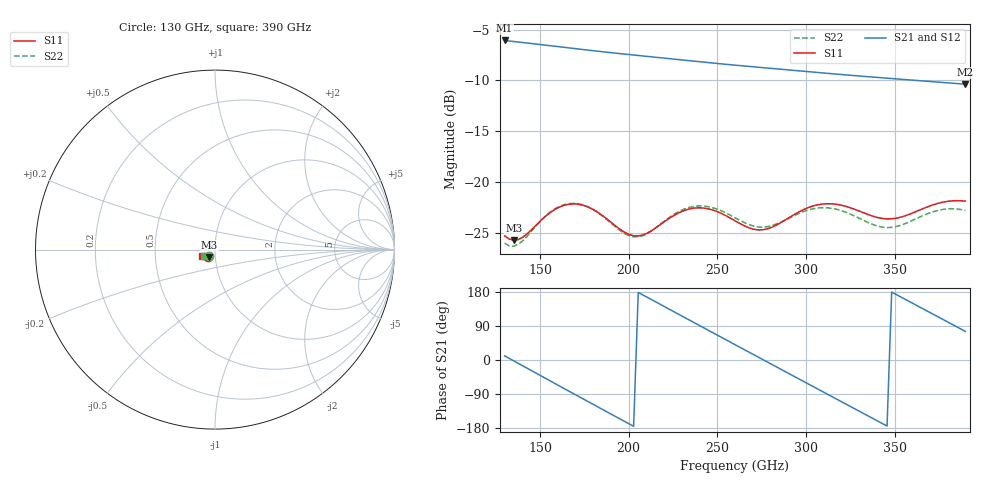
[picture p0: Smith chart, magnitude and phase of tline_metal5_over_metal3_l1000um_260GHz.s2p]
#  GHZ S DB R 50
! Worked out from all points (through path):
!   101 points, 130 GHz to 390 GHz, reference 50 ohm
!   highest |S21| = -6.07 dB at 130 GHz (marker M1); lowest = -10.4 dB at 390 GHz (marker M2)
!   group delay of S21, straight-line fit = 7 ps
!   lowest |S11| = -25.7 dB at 135.2 GHz (marker M3), VSWR 1.11, Z = 46.8 - j3.85 ohm
!   |S11| at or under -10 dB: start of sweep to end of sweep
!   |S22| runs from -26.3 to -22.1 dB; largest |S21 - S12| = 8.1e-14
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130  -25.32 -134.2  -6.07 11.0  -6.07 11.0  -26.04 -130.6
135.2  -25.75 -127.3  -6.18 -2.4  -6.18 -2.4  -26.33 -122.2
145.6  -24.64 -117.1  -6.38 -29.1  -6.38 -29.1  -24.77 -111.7
156  -22.98 -119.5  -6.59 -55.9  -6.59 -55.9  -22.94 -115.5
163.8  -22.30 -126.0  -6.75 -75.9  -6.75 -75.9  -22.23 -122.8
174.2  -22.29 -136.0  -6.97 -102.4  -6.97 -102.4  -22.27 -133.6
187.2  -23.58 -144.3  -7.22 -135.5  -7.22 -135.5  -23.64 -142.3
197.6  -24.95 -142.3  -7.41 -161.8  -7.41 -161.8  -25.08 -139.9
208  -25.23 -133.5  -7.60 171.8  -7.60 171.8  -25.30 -130.5
218.4  -24.14 -128.7  -7.78 145.4  -7.78 145.4  -24.09 -125.7
228.8  -23.00 -131.6  -7.97 119.1  -7.97 119.1  -22.87 -129.2
239.2  -22.55 -138.5  -8.15 92.9  -8.15 92.9  -22.37 -136.5
249.6  -22.90 -145.2  -8.33 66.7  -8.33 66.7  -22.66 -143.7
260  -23.83 -147.8  -8.50 40.6  -8.50 40.6  -23.53 -147.1
270.4  -24.66 -143.9  -8.67 14.4  -8.67 14.4  -24.35 -144.7
280.8  -24.47 -137.0  -8.83 -11.7  -8.83 -11.7  -24.31 -139.1
304.2  -22.36 -138.8  -9.19 -70.4  -9.19 -70.4  -22.64 -141.6
322.4  -22.40 -148.6  -9.46 -115.9  -9.46 -115.9  -22.98 -151.0
335.4  -23.23 -150.6  -9.65 -148.3  -9.65 -148.3  -24.03 -151.8
348.4  -23.63 -146.2  -9.82 179.2  -9.82 179.2  -24.48 -145.6
371.8  -22.26 -144.2  -10.14 120.8  -10.14 120.8  -22.94 -143.0
390  -21.89 -152.0  -10.38 75.5  -10.38 75.5  -22.81 -151.0
